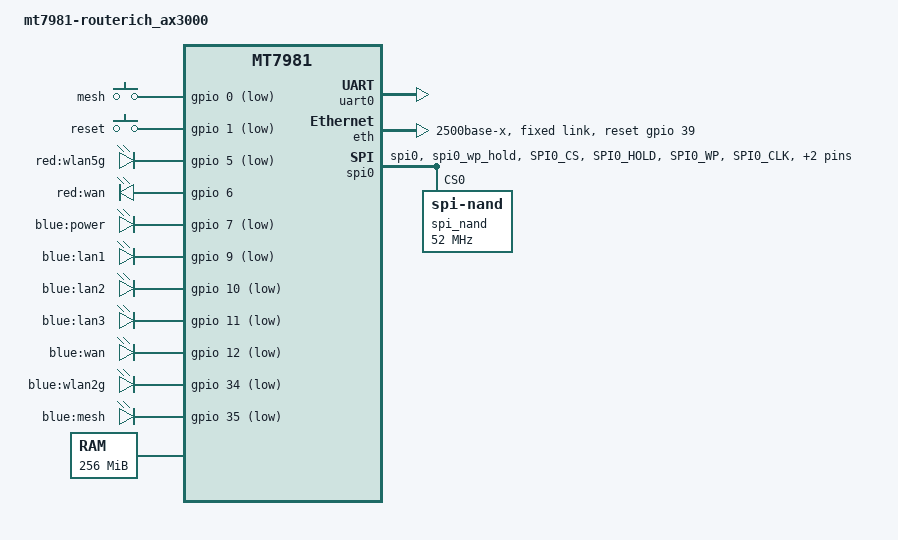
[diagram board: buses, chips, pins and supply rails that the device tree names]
// SPDX-License-Identifier: GPL-2.0

/dts-v1/;
#include "mt7981.dtsi"
#include <dt-bindings/gpio/gpio.h>

/ {
	#address-cells = <1>;
	#size-cells = <1>;
	model = "mt7981-routerich_ax3000";
	compatible = "mediatek,mt7981", "mediatek,mt7981-rfb";

	chosen {
		stdout-path = &uart0;
		tick-timer = &timer0;
	};

	config {
		bootcmd = "mtkboardboot";
		blink_led = "blue:power";
		system_led = "blue:power";
	};

	mtd-layout {
		layout@0 {
			label = "default";
			// mtd layout for routerich ax3000 factory firmware
			mtdids = "nmbm0=nmbm0";
			mtdparts = "nmbm0:1024k(bl2),512k(u-boot-env),2048k(factory),2048k(fip),65536k(ubi),32768k(firmware_backup),1024k(zrsave),1024k(config2)";
		};

		layout@1 {
			label = "extended";
			mtdids = "nmbm0=nmbm0";
			mtdparts = "nmbm0:1024k(bl2),512k(u-boot-env),2048k(factory),2048k(fip),114688k(ubi)";
		};

		layout@2 {
			label = "openwrt-ubootmod";
			mtdids = "spi-nand0=spi-nand0";
			mtdparts = "spi-nand0:1024k(bl2),512k(u-boot-env),2048k(factory),2048k(fip),125440k(ubi)";
		};
	};

	gpio-keys {
		compatible = "gpio-keys";

		mesh-button {
			label = "mesh";
			linux,code = <BTN_9>;
			gpios = <&gpio 0 GPIO_ACTIVE_LOW>;
		};

		reset-button {
			label = "reset";
			linux,code = <KEY_RESTART>;
			gpios = <&gpio 1 GPIO_ACTIVE_LOW>;
		};
	};

	leds {
		compatible = "gpio-leds";

		led@0 {
			label = "red:wlan5g";
			gpios = <&gpio 5 GPIO_ACTIVE_LOW>;
		};

		led@1 {
			label = "red:wan";
			gpios = <&gpio 6 GPIO_ACTIVE_HIGH>;
		};

		led@2 {
			label = "blue:power";
			gpios = <&gpio 7 GPIO_ACTIVE_LOW>;
		};

		led@3 {
			label = "blue:lan1";
			gpios = <&gpio 9 GPIO_ACTIVE_LOW>;
		};

		led@4 {
			label = "blue:lan2";
			gpios = <&gpio 10 GPIO_ACTIVE_LOW>;
		};

		led@5 {
			label = "blue:lan3";
			gpios = <&gpio 11 GPIO_ACTIVE_LOW>;
		};

		led@6 {
			label = "blue:wan";
			gpios = <&gpio 12 GPIO_ACTIVE_LOW>;
		};

		led@7 {
			label = "blue:wlan2g";
			gpios = <&gpio 34 GPIO_ACTIVE_LOW>;
		};

		led@8 {
			label = "blue:mesh";
			gpios = <&gpio 35 GPIO_ACTIVE_LOW>;
		};
	};

	memory@40000000 {
		device_type = "memory";
		reg = <0x40000000 0x10000000>;
	};

	bl2_verify {
		bl2_compatible = "spim-nand";
	};
};

&uart0 {
	status = "okay";
};

&eth {
	status = "okay";
	mediatek,gmac-id = <0>;
	phy-mode = "2500base-x";
	mediatek,switch = "mt7531";
	reset-gpios = <&gpio 39 GPIO_ACTIVE_HIGH>;

	fixed-link {
		speed = <2500>;
		full-duplex;
	};
};

&pinctrl {
	spi_flash_pins: spi0-pins-func-1 {
		mux {
			function = "flash";
			groups = "spi0", "spi0_wp_hold";
		};

		conf-pu {
			pins = "SPI0_CS", "SPI0_HOLD", "SPI0_WP";
			drive-strength = <MTK_DRIVE_8mA>;
			bias-pull-up = <MTK_PUPD_SET_R1R0_11>;
		};

		conf-pd {
			pins = "SPI0_CLK", "SPI0_MOSI", "SPI0_MISO";
			drive-strength = <MTK_DRIVE_8mA>;
			bias-pull-down = <MTK_PUPD_SET_R1R0_11>;
		};
	};
};

&spi0 {
	#address-cells = <1>;
	#size-cells = <0>;
	pinctrl-names = "default";
	pinctrl-0 = <&spi_flash_pins>;
	status = "okay";
	must_tx;
	enhance_timing;
	dma_ext;
	ipm_design;
	support_quad;
	tick_dly = <2>;
	sample_sel = <0>;

	spi_nand@0 {
		compatible = "spi-nand";
		reg = <0>;
		spi-max-frequency = <52000000>;
	};
};

&watchdog {
	status = "disabled";
};
